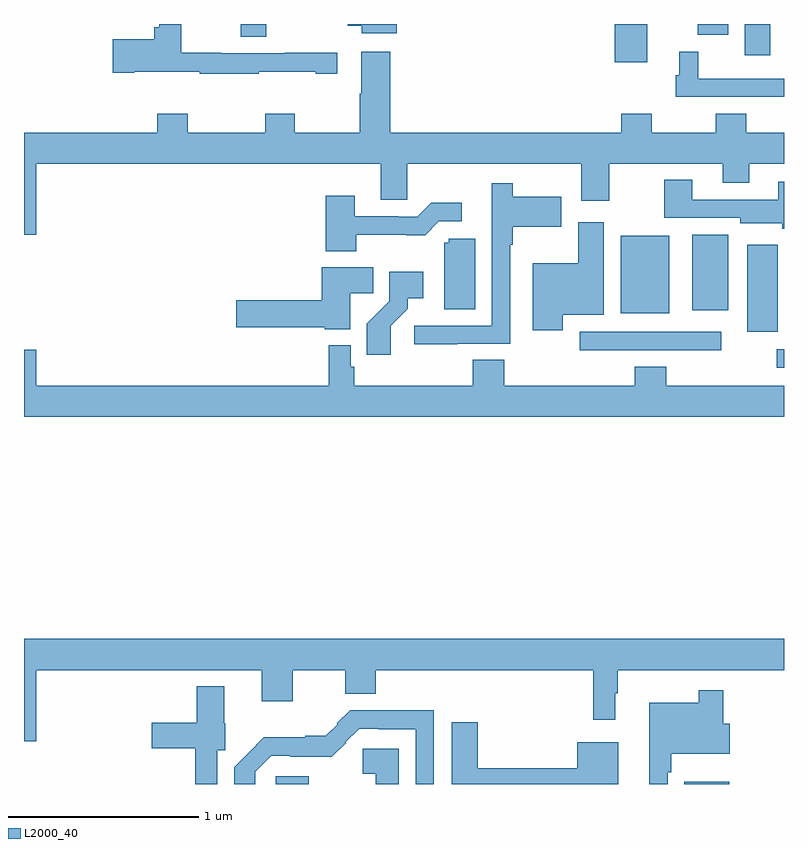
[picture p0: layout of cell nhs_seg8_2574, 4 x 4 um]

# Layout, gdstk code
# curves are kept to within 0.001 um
import gdstk
lib = gdstk.Library(unit=1e-6, precision=1e-09)
def R(c, l, rs):  # rectangles x0, y0, x1, y1
    for r in rs: c.add(gdstk.rectangle(r[:2], r[2:], *l))
def P(c, l, *ps):  # polygons
    for p in ps: c.add(gdstk.Polygon(p, *l))
L2000_40 = (2000, 40)

nhs_seg8_2574 = lib.new_cell('nhs_seg8_2574')
R(nhs_seg8_2574, L2000_40, [(274.326,1115.9,274.498,1115.94), (276.476,1115.9,276.712,1115.911), (276.963,1118.091,277,1118.188), (275.925,1118.184,276.67,1118.28), (276.806,1118.279,276.967,1118.737), (276.14,1118.378,276.397,1118.785), (276.518,1118.393,276.706,1118.791), (276.11,1119.699,276.28,1119.9), (276.794,1119.735,276.928,1119.9), (274.142,1119.832,274.276,1119.9), (276.545,1119.843,276.706,1119.9)])
P(nhs_seg8_2574, L2000_40, [(274.961,1119.9),(274.703,1119.9),(274.703,1119.89),(274.778,1119.89),(274.778,1119.851),(274.961,1119.851)],
  [(274.235,1119.649),(274.535,1119.649),(274.535,1119.639),(274.648,1119.639),(274.648,1119.749),(274.372,1119.749),(274.372,1119.747),(274.038,1119.747),(274.038,1119.748),(273.828,1119.748),(273.828,1119.9),(273.712,1119.9),(273.712,1119.883),(273.686,1119.883),(273.686,1119.821),(273.468,1119.821),(273.468,1119.643),(273.58,1119.643),(273.58,1119.649),(273.925,1119.649),(273.925,1119.639),(274.235,1119.639)],
  [(273.064,1119.164),(274.877,1119.164),(274.877,1118.974),(275.016,1118.974),(275.016,1119.164),(275.933,1119.164),(275.933,1118.97),(276.081,1118.97),(276.081,1119.164),(276.677,1119.164),(276.677,1119.065),(276.817,1119.065),(276.817,1119.164),(277,1119.164),(277,1119.328),(276.8,1119.328),(276.8,1119.427),(276.64,1119.427),(276.64,1119.328),(276.303,1119.328),(276.303,1119.427),(276.143,1119.427),(276.143,1119.328),(274.928,1119.328),(274.928,1119.754),(274.775,1119.754),(274.775,1119.533),(274.768,1119.533),(274.768,1119.328),(274.425,1119.328),(274.425,1119.427),(274.27,1119.427),(274.27,1119.328),(273.861,1119.328),(273.861,1119.427),(273.701,1119.427),(273.701,1119.328),(273,1119.328),(273,1118.79),(273.064,1118.79)],
  [(277,1119.612),(276.549,1119.612),(276.549,1119.754),(276.449,1119.754),(276.449,1119.63),(276.43,1119.63),(276.43,1119.516),(277,1119.516)],
  [(277,1119.07),(276.971,1119.07),(276.971,1118.976),(276.517,1118.976),(276.517,1119.079),(276.37,1119.079),(276.37,1118.88),(276.771,1118.88),(276.771,1118.852),(276.99,1118.852),(276.99,1118.822),(277,1118.822)],
  [(275.279,1118.217),(275.559,1118.217),(275.559,1118.738),(275.572,1118.738),(275.572,1118.834),(275.827,1118.834),(275.827,1118.992),(275.572,1118.992),(275.572,1119.061),(275.462,1119.061),(275.462,1118.838),(275.463,1118.838),(275.463,1118.313),(275.055,1118.313),(275.055,1118.215),(275.279,1118.215)],
  [(274.749,1118.79),(275.111,1118.789),(275.184,1118.862),(275.305,1118.862),(275.305,1118.959),(275.143,1118.959),(275.07,1118.886),(274.97,1118.886),(274.97,1118.889),(274.741,1118.889),(274.741,1118.995),(274.589,1118.995),(274.589,1118.705),(274.749,1118.705)],
  [(275.836,1118.369),(276.052,1118.369),(276.052,1118.857),(275.918,1118.857),(275.918,1118.641),(275.678,1118.641),(275.678,1118.289),(275.836,1118.289)],
  [(275.374,1118.769),(275.235,1118.769),(275.235,1118.748),(275.213,1118.748),(275.213,1118.4),(275.374,1118.4)],
  [(274.717,1118.482),(274.838,1118.482),(274.838,1118.62),(274.568,1118.62),(274.568,1118.447),(274.116,1118.447),(274.116,1118.305),(274.584,1118.305),(274.584,1118.294),(274.717,1118.294)],
  [(274.93,1118.311),(275.02,1118.401),(275.02,1118.456),(275.101,1118.456),(275.101,1118.596),(274.923,1118.596),(274.923,1118.441),(274.804,1118.322),(274.804,1118.16),(274.93,1118.16)],
  [(277,1117.996),(276.38,1117.996),(276.38,1118.095),(276.215,1118.095),(276.215,1117.996),(275.528,1117.996),(275.528,1118.132),(275.363,1118.132),(275.363,1117.996),(274.739,1117.996),(274.739,1118.097),(274.719,1118.097),(274.719,1118.209),(274.603,1118.209),(274.603,1117.996),(273.064,1117.996),(273.064,1118.185),(273,1118.185),(273,1117.832),(277,1117.832)],
  [(273,1116.126),(273.064,1116.126),(273.064,1116.5),(274.25,1116.5),(274.25,1116.336),(274.414,1116.336),(274.414,1116.5),(274.691,1116.5),(274.691,1116.374),(274.852,1116.374),(274.852,1116.5),(275.995,1116.5),(275.995,1116.237),(276.112,1116.237),(276.112,1116.377),(276.124,1116.377),(276.124,1116.5),(277,1116.5),(277,1116.664),(273,1116.664)],
  [(274.017,1116.077),(274.059,1116.077),(274.059,1116.219),(274.054,1116.219),(274.054,1116.415),(273.908,1116.415),(273.908,1116.223),(273.672,1116.223),(273.672,1116.089),(273.901,1116.089),(273.901,1115.9),(274.017,1115.9)],
  [(276.387,1115.963),(276.407,1115.963),(276.407,1116.059),(276.715,1116.059),(276.715,1116.217),(276.68,1116.217),(276.68,1116.394),(276.552,1116.394),(276.552,1116.328),(276.29,1116.328),(276.29,1115.9),(276.387,1115.9)],
  [(274.218,1115.964),(274.302,1116.048),(274.402,1116.048),(274.402,1116.044),(274.621,1116.044),(274.695,1116.117),(274.692,1116.12),(274.764,1116.192),(274.864,1116.192),(274.864,1116.188),(275.061,1116.188),(275.061,1115.9),(275.157,1115.9),(275.157,1116.289),(274.717,1116.289),(274.647,1116.219),(274.651,1116.215),(274.589,1116.153),(274.481,1116.153),(274.481,1116.145),(274.261,1116.145),(274.106,1115.988),(274.106,1115.9),(274.218,1115.9)],
  [(276.127,1116.121),(275.912,1116.121),(275.912,1115.984),(275.387,1115.984),(275.387,1116.226),(275.252,1116.226),(275.252,1115.9),(276.127,1115.9)],
  [(274.972,1116.086),(274.782,1116.086),(274.782,1115.954),(274.85,1115.954),(274.85,1115.9),(274.972,1115.9)])

lib.write_gds('nhs_seg8_2574.gds')
